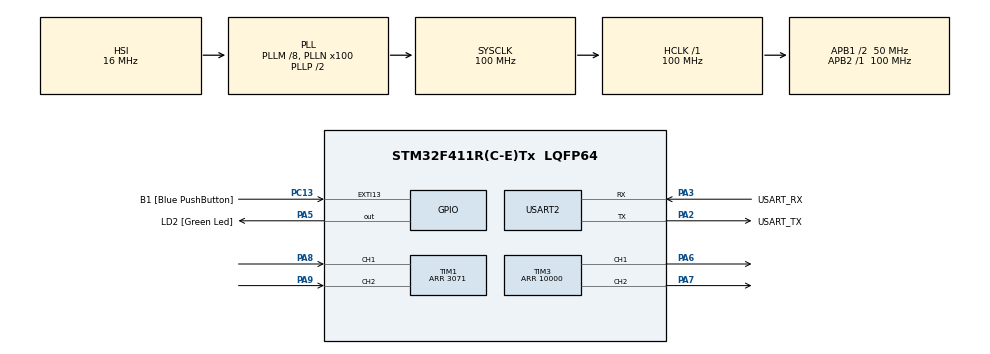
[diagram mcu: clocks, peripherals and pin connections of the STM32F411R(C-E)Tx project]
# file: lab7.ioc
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Mcu.Family=STM32F4
PC15-OSC32_OUT.Mode=LSE-External-Oscillator
RCC.CortexFreq_Value=100000000
PC13-ANTI_TAMP.GPIO_Label=B1 [Blue PushButton]
PA14.GPIO_Label=TCK
PH1\ -\ OSC_OUT.Mode=HSE-External-Clock-Source
TIM1.EncoderMode=TIM_ENCODERMODE_TI12
RCC.APB1CLKDivider=RCC_HCLK_DIV2
PC14-OSC32_IN.Signal=RCC_OSC32_IN
RCC.SYSCLKSource=RCC_SYSCLKSOURCE_PLLCLK
ProjectManager.StackSize=0x400
PA3.Mode=Asynchronous
PA13.Signal=SYS_JTMS-SWDIO
PH0\ -\ OSC_IN.Mode=HSE-External-Clock-Source
SH.S_TIM1_CH1.0=TIM1_CH1,Encoder_Interface
PH0\ -\ OSC_IN.Signal=RCC_OSC_IN
ProjectManager.TargetToolchain=STM32CubeIDE
RCC.HCLKFreq_Value=100000000
RCC.APB2TimFreq_Value=100000000
TIM3.Period=10000
PA9.Signal=S_TIM1_CH2
PC15-OSC32_OUT.Signal=RCC_OSC32_OUT
RCC.AHBFreq_Value=100000000
TIM3.Channel-PWM\ Generation1\ CH1=TIM_CHANNEL_1
PA5.Signal=GPIO_Output
SH.S_TIM3_CH2.0=TIM3_CH2,PWM Generation2 CH2
NVIC.TIM1_TRG_COM_TIM11_IRQn=true\:0\:0\:false\:false\:true\:true\:true
RCC.HSE_VALUE=8000000
PH1\ -\ OSC_OUT.Signal=RCC_OSC_OUT
board=NUCLEO-F411RE
PC13-ANTI_TAMP.Signal=GPXTI13
RCC.VCOOutputFreq_Value=200000000
RCC.APB2Freq_Value=100000000
PC14-OSC32_IN.Mode=LSE-External-Oscillator
SH.S_TIM1_CH2.0=TIM1_CH2,Encoder_Interface
VP_TIM2_VS_ClockSourceINT.Mode=Internal
PA14.Mode=Serial_Wire
NVIC.TIM2_IRQn=true\:0\:0\:false\:false\:true\:true\:true
PA8.Signal=S_TIM1_CH1
SH.S_TIM3_CH1.0=TIM3_CH1,PWM Generation1 CH1
PA13.Mode=Serial_Wire
Mcu.Name=STM32F411R(C-E)Tx
PA2.Signal=USART2_TX
PA13.GPIO_Label=TMS
RCC.FLatency-AdvancedSettings=FLASH_LATENCY_3
RCC.48MHZClocksFreq_Value=50000000
PB3.Signal=SYS_JTDO-SWO
RCC.SYSCLKFreq_VALUE=100000000
Mcu.Package=LQFP64
TIM2.Prescaler=99
PA6.Signal=S_TIM3_CH1
PA5.GPIO_Label=LD2 [Green Led]
USART2.VirtualMode=VM_ASYNC
PC13-ANTI_TAMP.GPIO_ModeDefaultEXTI=GPIO_MODE_IT_FALLING
PA2.GPIO_Label=USART_TX
PA14.Signal=SYS_JTCK-SWCLK
ProjectManager.HeapSize=0x200
RCC.HSI_VALUE=16000000
NVIC.PriorityGroup=NVIC_PRIORITYGROUP_0
TIM3.Channel-PWM\ Generation2\ CH2=TIM_CHANNEL_2
RCC.PLLM=8
RCC.PLLN=100
RCC.APB1TimFreq_Value=100000000
PA2.Mode=Asynchronous
TIM1.Period=3071
RCC.APB1Freq_Value=50000000
VP_TIM3_VS_ClockSourceINT.Mode=Internal
PA3.GPIO_Label=USART_RX
PA3.Signal=USART2_RX
PA7.Signal=S_TIM3_CH2
PB3.GPIO_Label=SWO

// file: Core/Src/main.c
/* USER CODE BEGIN Header */
/**
  ******************************************************************************
  * @file           : main.c
  * @brief          : Main program body
  ******************************************************************************
  * @attention
  *
  * <h2><center>&copy; Copyright (c) 2021 STMicroelectronics.
  * All rights reserved.</center></h2>
  *
  * This software component is licensed by ST under BSD 3-Clause license,
  * the "License"; You may not use this file except in compliance with the
  * License. You may obtain a copy of the License at:
  *                        opensource.org/licenses/BSD-3-Clause
  *
  ******************************************************************************
  */
/* USER CODE END Header */
#include "main.h"

TIM_HandleTypeDef htim1;
TIM_HandleTypeDef htim2;
TIM_HandleTypeDef htim3;

UART_HandleTypeDef huart2;

/* USER CODE BEGIN PV */
uint64_t _micros = 0;
float EncoderVel = 0;
float 	sumpid = 0 ;
//PID
int16_t setpoint = 0 ;
int16_t setpoint_PID = 0 ;
int8_t  errorpid[2] = {0} ;
float velocity = 0 ;
//RPM
float RPM = 0 ;
double Kp = 0.5 , Ki = 1 , Kd = 1.5 ;

//PWM
int64_t PWMOut = 0 ;
uint16_t PWMOut1 = 0 ;
uint16_t PWMOut2 = 0 ;

	// Time
uint64_t Timestamp_Encoder = 0;
uint64_t TimeOutputPWM = 0 ;
uint16_t PID_vel = 0 ;
/* USER CODE END PV */

void SystemClock_Config(void);
static void MX_GPIO_Init(void);
static void MX_USART2_UART_Init(void);
static void MX_TIM1_Init(void);
static void MX_TIM2_Init(void);
static void MX_TIM3_Init(void);
/* USER CODE BEGIN PFP */
uint64_t micros();
float EncoderVelocity_Update();
void read_RPM() ;
void PWM_clockwise();
void PWM_counterclockwise();
void PID();
void PID_2();
/* USER CODE END PFP */

int main(void)
{

  /* MCU Configuration--------------------------------------------------------*/

  /* Reset of all peripherals, Initializes the Flash interface and the Systick. */
 HAL_Init();

  /* Configure the system clock */
  SystemClock_Config();

  /* Initialize all configured peripherals */
  MX_GPIO_Init();
  MX_USART2_UART_Init();
  MX_TIM1_Init();
  MX_TIM2_Init();
  MX_TIM3_Init();
  /* USER CODE BEGIN 2 */
	HAL_TIM_Base_Start_IT(&htim2); // micros
	HAL_TIM_Encoder_Start(&htim1, TIM_CHANNEL_ALL);

	//Start PWM
	HAL_TIM_Base_Start(&htim3) ;
	HAL_TIM_PWM_Start(&htim3, TIM_CHANNEL_1) ;
	HAL_TIM_PWM_Start(&htim3, TIM_CHANNEL_2) ;

  /* USER CODE END 2 */

  /* Infinite loop */
  while (1)
  {

    /* USER CODE BEGIN 3 */

	  if (micros() - TimeOutputPWM >= 1000)//uS
	  {
		  TimeOutputPWM =  micros() ;

		  //PID();
		  PID_2();
		  if(PWMOut > 0)
		  {
			  PWM_clockwise();
		  }
		  else if (PWMOut < 0 )
		  {
			  PWM_counterclockwise();
		  }
//		  else if (PWMOut==0 )
//		  {
//			  PWMOut1 = 0 ;
//			  PWMOut2 = 0 ;
//			  PWMOut=0;
//			  //PID();
//			  __HAL_TIM_SET_COMPARE(&htim3, TIM_CHANNEL_1, PWMOut);
//			  __HAL_TIM_SET_COMPARE(&htim3, TIM_CHANNEL_2, PWMOut2);
//		  }
	  }

//		//RAW Read
//		if (micros() - Timestamp_Encoder >= 10000)
//		{
//			Timestamp_Encoder = micros();
//			EncoderVel = EncoderVelocity_Update();
//			read_RPM();
//		}

	  	 //Add LPF?
		if (micros() - Timestamp_Encoder >= 100)
		{
			Timestamp_Encoder = micros();
			EncoderVel = (EncoderVel * 999 + EncoderVelocity_Update()) / 1000.0;
			//read_RPM();
		}

  }
  /* USER CODE END 3 */
}

void SystemClock_Config(void)
{
  RCC_OscInitTypeDef RCC_OscInitStruct = {0};
  RCC_ClkInitTypeDef RCC_ClkInitStruct = {0};

  /** Configure the main internal regulator output voltage
  */
  __HAL_RCC_PWR_CLK_ENABLE();
  __HAL_PWR_VOLTAGESCALING_CONFIG(PWR_REGULATOR_VOLTAGE_SCALE1);
  /** Initializes the RCC Oscillators according to the specified parameters
  * in the RCC_OscInitTypeDef structure.
  */
  RCC_OscInitStruct.OscillatorType = RCC_OSCILLATORTYPE_HSI;
  RCC_OscInitStruct.HSIState = RCC_HSI_ON;
  RCC_OscInitStruct.HSICalibrationValue = RCC_HSICALIBRATION_DEFAULT;
  RCC_OscInitStruct.PLL.PLLState = RCC_PLL_ON;
  RCC_OscInitStruct.PLL.PLLSource = RCC_PLLSOURCE_HSI;
  RCC_OscInitStruct.PLL.PLLM = 8;
  RCC_OscInitStruct.PLL.PLLN = 100;
  RCC_OscInitStruct.PLL.PLLP = RCC_PLLP_DIV2;
  RCC_OscInitStruct.PLL.PLLQ = 4;
  if (HAL_RCC_OscConfig(&RCC_OscInitStruct) != HAL_OK)
  {
    Error_Handler();
  }
  /** Initializes the CPU, AHB and APB buses clocks
  */
  RCC_ClkInitStruct.ClockType = RCC_CLOCKTYPE_HCLK|RCC_CLOCKTYPE_SYSCLK
                              |RCC_CLOCKTYPE_PCLK1|RCC_CLOCKTYPE_PCLK2;
  RCC_ClkInitStruct.SYSCLKSource = RCC_SYSCLKSOURCE_PLLCLK;
  RCC_ClkInitStruct.AHBCLKDivider = RCC_SYSCLK_DIV1;
  RCC_ClkInitStruct.APB1CLKDivider = RCC_HCLK_DIV2;
  RCC_ClkInitStruct.APB2CLKDivider = RCC_HCLK_DIV1;

  if (HAL_RCC_ClockConfig(&RCC_ClkInitStruct, FLASH_LATENCY_3) != HAL_OK)
  {
    Error_Handler();
  }
}

static void MX_TIM1_Init(void)
{

  TIM_Encoder_InitTypeDef sConfig = {0};
  TIM_MasterConfigTypeDef sMasterConfig = {0};

  htim1.Instance = TIM1;
  htim1.Init.Prescaler = 0;
  htim1.Init.CounterMode = TIM_COUNTERMODE_UP;
  htim1.Init.Period = 3071;
  htim1.Init.ClockDivision = TIM_CLOCKDIVISION_DIV1;
  htim1.Init.RepetitionCounter = 0;
  htim1.Init.AutoReloadPreload = TIM_AUTORELOAD_PRELOAD_DISABLE;
  sConfig.EncoderMode = TIM_ENCODERMODE_TI12;
  sConfig.IC1Polarity = TIM_ICPOLARITY_RISING;
  sConfig.IC1Selection = TIM_ICSELECTION_DIRECTTI;
  sConfig.IC1Prescaler = TIM_ICPSC_DIV1;
  sConfig.IC1Filter = 0;
  sConfig.IC2Polarity = TIM_ICPOLARITY_RISING;
  sConfig.IC2Selection = TIM_ICSELECTION_DIRECTTI;
  sConfig.IC2Prescaler = TIM_ICPSC_DIV1;
  sConfig.IC2Filter = 0;
  if (HAL_TIM_Encoder_Init(&htim1, &sConfig) != HAL_OK)
  {
    Error_Handler();
  }
  sMasterConfig.MasterOutputTrigger = TIM_TRGO_RESET;
  sMasterConfig.MasterSlaveMode = TIM_MASTERSLAVEMODE_DISABLE;
  if (HAL_TIMEx_MasterConfigSynchronization(&htim1, &sMasterConfig) != HAL_OK)
  {
    Error_Handler();
  }

}

static void MX_TIM2_Init(void)
{

  TIM_ClockConfigTypeDef sClockSourceConfig = {0};
  TIM_MasterConfigTypeDef sMasterConfig = {0};

  htim2.Instance = TIM2;
  htim2.Init.Prescaler = 99;
  htim2.Init.CounterMode = TIM_COUNTERMODE_UP;
  htim2.Init.Period = 4294967295;
  htim2.Init.ClockDivision = TIM_CLOCKDIVISION_DIV1;
  htim2.Init.AutoReloadPreload = TIM_AUTORELOAD_PRELOAD_DISABLE;
  if (HAL_TIM_Base_Init(&htim2) != HAL_OK)
  {
    Error_Handler();
  }
  sClockSourceConfig.ClockSource = TIM_CLOCKSOURCE_INTERNAL;
  if (HAL_TIM_ConfigClockSource(&htim2, &sClockSourceConfig) != HAL_OK)
  {
    Error_Handler();
  }
  sMasterConfig.MasterOutputTrigger = TIM_TRGO_RESET;
  sMasterConfig.MasterSlaveMode = TIM_MASTERSLAVEMODE_DISABLE;
  if (HAL_TIMEx_MasterConfigSynchronization(&htim2, &sMasterConfig) != HAL_OK)
  {
    Error_Handler();
  }

}

static void MX_TIM3_Init(void)
{

  TIM_ClockConfigTypeDef sClockSourceConfig = {0};
  TIM_MasterConfigTypeDef sMasterConfig = {0};
  TIM_OC_InitTypeDef sConfigOC = {0};

  htim3.Instance = TIM3;
  htim3.Init.Prescaler = 0;
  htim3.Init.CounterMode = TIM_COUNTERMODE_UP;
  htim3.Init.Period = 10000;
  htim3.Init.ClockDivision = TIM_CLOCKDIVISION_DIV1;
  htim3.Init.AutoReloadPreload = TIM_AUTORELOAD_PRELOAD_DISABLE;
  if (HAL_TIM_Base_Init(&htim3) != HAL_OK)
  {
    Error_Handler();
  }
  sClockSourceConfig.ClockSource = TIM_CLOCKSOURCE_INTERNAL;
  if (HAL_TIM_ConfigClockSource(&htim3, &sClockSourceConfig) != HAL_OK)
  {
    Error_Handler();
  }
  if (HAL_TIM_PWM_Init(&htim3) != HAL_OK)
  {
    Error_Handler();
  }
  sMasterConfig.MasterOutputTrigger = TIM_TRGO_RESET;
  sMasterConfig.MasterSlaveMode = TIM_MASTERSLAVEMODE_DISABLE;
  if (HAL_TIMEx_MasterConfigSynchronization(&htim3, &sMasterConfig) != HAL_OK)
  {
    Error_Handler();
  }
  sConfigOC.OCMode = TIM_OCMODE_PWM1;
  sConfigOC.Pulse = 0;
  sConfigOC.OCPolarity = TIM_OCPOLARITY_HIGH;
  sConfigOC.OCFastMode = TIM_OCFAST_DISABLE;
  if (HAL_TIM_PWM_ConfigChannel(&htim3, &sConfigOC, TIM_CHANNEL_1) != HAL_OK)
  {
    Error_Handler();
  }
  if (HAL_TIM_PWM_ConfigChannel(&htim3, &sConfigOC, TIM_CHANNEL_2) != HAL_OK)
  {
    Error_Handler();
  }
  HAL_TIM_MspPostInit(&htim3);

}

static void MX_USART2_UART_Init(void)
{

  huart2.Instance = USART2;
  huart2.Init.BaudRate = 115200;
  huart2.Init.WordLength = UART_WORDLENGTH_8B;
  huart2.Init.StopBits = UART_STOPBITS_1;
  huart2.Init.Parity = UART_PARITY_NONE;
  huart2.Init.Mode = UART_MODE_TX_RX;
  huart2.Init.HwFlowCtl = UART_HWCONTROL_NONE;
  huart2.Init.OverSampling = UART_OVERSAMPLING_16;
  if (HAL_UART_Init(&huart2) != HAL_OK)
  {
    Error_Handler();
  }

}

static void MX_GPIO_Init(void)
{
  GPIO_InitTypeDef GPIO_InitStruct = {0};

  /* GPIO Ports Clock Enable */
  __HAL_RCC_GPIOC_CLK_ENABLE();
  __HAL_RCC_GPIOH_CLK_ENABLE();
  __HAL_RCC_GPIOA_CLK_ENABLE();
  __HAL_RCC_GPIOB_CLK_ENABLE();

  /*Configure GPIO pin Output Level */
  HAL_GPIO_WritePin(LD2_GPIO_Port, LD2_Pin, GPIO_PIN_RESET);

  /*Configure GPIO pin : B1_Pin */
  GPIO_InitStruct.Pin = B1_Pin;
  GPIO_InitStruct.Mode = GPIO_MODE_IT_FALLING;
  GPIO_InitStruct.Pull = GPIO_NOPULL;
  HAL_GPIO_Init(B1_GPIO_Port, &GPIO_InitStruct);

  /*Configure GPIO pin : LD2_Pin */
  GPIO_InitStruct.Pin = LD2_Pin;
  GPIO_InitStruct.Mode = GPIO_MODE_OUTPUT_PP;
  GPIO_InitStruct.Pull = GPIO_NOPULL;
  GPIO_InitStruct.Speed = GPIO_SPEED_FREQ_LOW;
  HAL_GPIO_Init(LD2_GPIO_Port, &GPIO_InitStruct);

}

/* USER CODE BEGIN 4 */
/* USER CODE BEGIN 4 */
#define  HTIM_ENCODER htim1
#define  MAX_SUBPOSITION_OVERFLOW 1536
#define  MAX_ENCODER_PERIOD 3072

int32_t EncoderPositionDiff;
uint64_t EncoderTimeDiff;

float EncoderVelocity_Update() //Angular Velocity
{
	//Save Last state
	static uint32_t EncoderLastPosition = 0;
	static uint64_t EncoderLastTimestamp = 0;

	//read data
	uint32_t EncoderNowPosition = HTIM_ENCODER.Instance->CNT;
	uint64_t EncoderNowTimestamp = micros();

	EncoderTimeDiff = EncoderNowTimestamp - EncoderLastTimestamp;
	EncoderPositionDiff = EncoderNowPosition - EncoderLastPosition;

	//compensate overflow and underflow
	if (EncoderPositionDiff >= MAX_SUBPOSITION_OVERFLOW)
	{
		EncoderPositionDiff -= MAX_ENCODER_PERIOD;
	}
	else if (-EncoderPositionDiff >= MAX_SUBPOSITION_OVERFLOW)
	{
		EncoderPositionDiff += MAX_ENCODER_PERIOD;
	}

	//Update Position and time
	EncoderLastPosition = EncoderNowPosition;
	EncoderLastTimestamp = EncoderNowTimestamp;

	//Calculate velocity
	//EncoderTimeDiff is in uS
	return (EncoderPositionDiff * 1000000) / (float) EncoderTimeDiff;

}

void HAL_TIM_PeriodElapsedCallback(TIM_HandleTypeDef *htim)
{
	if (htim == &htim2)
	{
		_micros += 4294967295;
	}
}
uint64_t micros()
{
	return _micros + htim2.Instance->CNT;
}
void read_RPM()
{
	double pi = 3.14159265359 ;
	RPM = EncoderVel/ 3072*(2*pi) ;
	//RPM = (60*3072)/EncoderVel ;
}
void PWM_clockwise()
{
	PWMOut2 = 0 ;
	//PID();
	//PWMOut =PWMOut + PID_vel  ;
	__HAL_TIM_SET_COMPARE(&htim3, TIM_CHANNEL_1, PWMOut);
	__HAL_TIM_SET_COMPARE(&htim3, TIM_CHANNEL_2, PWMOut2);
}
void PWM_counterclockwise()
{
	PWMOut1 = 0 ;
	//PID();
	 PWMOut = PWMOut *(-1);
	__HAL_TIM_SET_COMPARE(&htim3, TIM_CHANNEL_1, PWMOut1);
	__HAL_TIM_SET_COMPARE(&htim3, TIM_CHANNEL_2, PWMOut);
}
void PID()
{
	double pi = 3.14159265359 ;
	velocity = EncoderVel/ 3072*(2*pi) ;
	if(setpoint < 0)
	{
		setpoint_PID = setpoint*(-1)  ;
	}
	else if (setpoint > 0) {
		setpoint_PID = setpoint ;
	}
	uint64_t dt = 1000;
	//double Kp = 0.5 , Ki = 1 , Kd = 1.5 ;
	double  previous_error = 0 , integral = 0 , error =0 ,  derivative = 0 ;
	previous_error = setpoint_PID - RPM  ;
	integral = 0 ;
	error = setpoint_PID - RPM ;
	integral = integral + (error*dt) ;
	derivative = (error - previous_error)/dt ;
	PID_vel =   (Kp*error)+ (Ki*integral) + (Kd*derivative)  ;
	previous_error = error ;
	//dt = 0 ;
}
void PID_2()
{
	//double pi = 3.14159265359 ;
	//velocity = EncoderVel/ 3072*(2*pi) ;
	velocity = (EncoderVel*60)/ 3072;
//	if(setpoint<0){
//		errorpid[0] = velocity - setpoint ;
//	}
//	if(setpoint>=0){
//		errorpid[0] =  setpoint - velocity  ;
//	}
	errorpid[0] =  setpoint - velocity  ;
	sumpid =sumpid + errorpid[0] ;
	PWMOut  = Kp*errorpid[0] + Ki * sumpid + Kd * (errorpid[0] - errorpid[1]) ;
	errorpid[1] = errorpid[0] ;
}
/* USER CODE END 4 */

void Error_Handler(void)
{
  __disable_irq();
  while (1)
  {
  }
}

/************************ (C) COPYRIGHT STMicroelectronics *****END OF FILE****/
